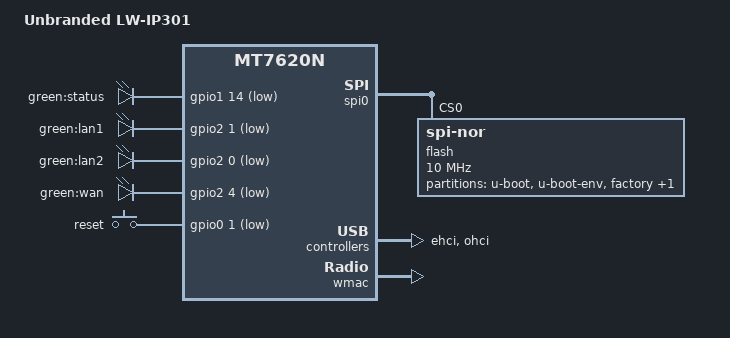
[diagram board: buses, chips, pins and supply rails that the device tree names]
#include "mt7620n.dtsi"

#include <dt-bindings/gpio/gpio.h>
#include <dt-bindings/input/input.h>

/ {
	compatible = "unbranded,lw-ip301", "ralink,mt7620n-soc";
	model = "Unbranded LW-IP301";

	aliases {
		led-boot = &led_status;
		led-failsafe = &led_status;
		led-running = &led_status;
		led-upgrade = &led_status;
		label-mac-device = &ethernet;
	};

	chosen {
		bootargs = "console=ttyS0,57600";
		bootargs-override = "console=ttyS0,57600";
	};

	leds {
		compatible = "gpio-leds";

		led_status: status {
			label = "green:status";
			gpios = <&gpio1 14 GPIO_ACTIVE_LOW>;
		};

		lan1 {
			label = "green:lan1";
			gpios = <&gpio2 1 GPIO_ACTIVE_LOW>;
		};

		lan2 {
			label = "green:lan2";
			gpios = <&gpio2 0 GPIO_ACTIVE_LOW>;
		};

		wan {
			label = "green:wan";
			gpios = <&gpio2 4 GPIO_ACTIVE_LOW>;
		};
	};

	keys {
		compatible = "gpio-keys";

		reset {
			label = "reset";
			gpios = <&gpio0 1 GPIO_ACTIVE_LOW>;
			linux,code = <KEY_RESTART>;
		};
	};
};

&spi0 {
	status = "okay";

	flash@0 {
		compatible = "jedec,spi-nor";
		reg = <0>;
		spi-max-frequency = <10000000>;

		partitions {
			compatible = "fixed-partitions";
			#address-cells = <1>;
			#size-cells = <1>;

			partition@0 {
				label = "u-boot";
				reg = <0x0 0x30000>;
				read-only;
			};

			partition@30000 {
				label = "u-boot-env";
				reg = <0x30000 0x10000>;
			};

			factory: partition@40000 {
				label = "factory";
				reg = <0x40000 0x10000>;
				read-only;
			};

			partition@50000 {
				compatible = "denx,uimage";
				label = "firmware";
				reg = <0x50000 0x7b0000>;
			};
		};
	};
};

&gpio1 {
	status = "okay";
};

&gpio2 {
	status = "okay";
};

&gpio3 {
	status = "okay";
};

&ehci {
	status = "okay";
};

&ohci {
	status = "okay";
};

&ethernet {
	nvmem-cells = <&macaddr_factory_4>;
	nvmem-cell-names = "mac-address";

	mediatek,portmap = "llllw";
};

&wmac {
	ralink,mtd-eeprom = <&factory 0x0>;
};

&state_default {
	default {
		groups = "ephy", "wled", "pa", "i2c", "wdt", "uartf", "spi refclk";
		function = "gpio";
	};
};

&factory {
	compatible = "nvmem-cells";
	#address-cells = <1>;
	#size-cells = <1>;

	macaddr_factory_4: macaddr@4 {
		reg = <0x4 0x6>;
	};
};
